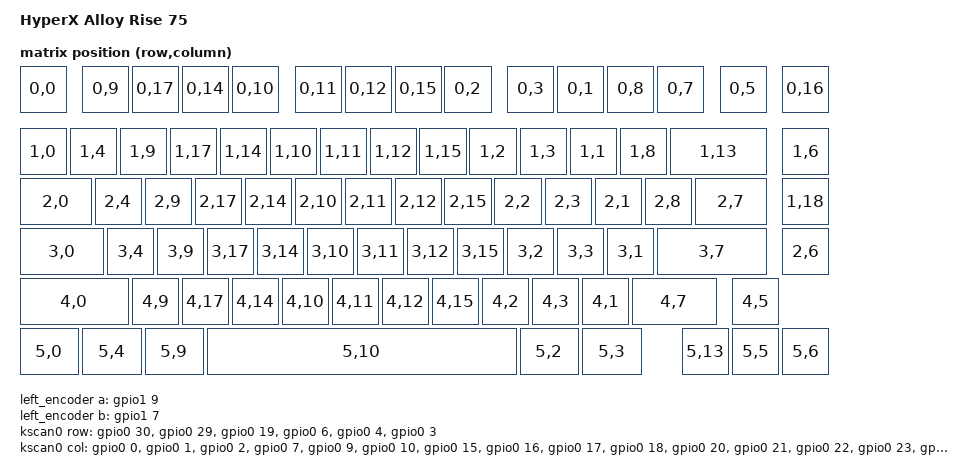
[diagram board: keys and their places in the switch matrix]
/dts-v1/;
#include <nxp/nxp_lpc55S16_ns.dtsi>
#include <dt-bindings/zmk/matrix_transform.h>
#include <dt-bindings/gpio/gpio.h>
#include <physical_layouts.dtsi>

/ {
    model = "HyperX Alloy Rise 75";
    compatible = "hyperx,alloy-rise-75", "nxp,lpc55xxx", "nxp,lpc";

    chosen {
        zephyr,sram = &sram0;
        zephyr,flash = &flash0;
        zephyr,code-partition = &slot0_partition;
        zephyr,udc0 = &usbhs;
        zmk,physical-layout = &physical_layout0;
        zmk,kscan = &kscan0;
    };

    left_encoder: encoder_left {
        compatible = "alps,ec11";
        a-gpios = <&gpio1 9 (GPIO_ACTIVE_LOW | GPIO_PULL_UP)>; 
        b-gpios = <&gpio1 7 (GPIO_ACTIVE_LOW | GPIO_PULL_UP)>; 
        steps = <80>;
        status = "okay";
    };

    sensors: sensors {
        compatible = "zmk,keymap-sensors";
        sensors = <&left_encoder>;
        triggers-per-rotation = <20>;
    };

    default_transform: keymap_transform_0 {
        compatible = "zmk,matrix-transform";
        columns = <19>;
        rows = <6>;
        map = <
            RC(0,0) RC(0,9) RC(0,17) RC(0,14) RC(0,10) RC(0,11) RC(0,12) RC(0,15) RC(0,2) RC(0,3) RC(0,1) RC(0,8) RC(0,7) RC(0,5) RC(0,16)
            RC(1,0) RC(1,4) RC(1,9) RC(1,17) RC(1,14) RC(1,10) RC(1,11) RC(1,12) RC(1,15) RC(1,2) RC(1,3) RC(1,1) RC(1,8) RC(1,13) RC(1,6) RC(1,18)
            RC(2,0) RC(2,4) RC(2,9) RC(2,17) RC(2,14) RC(2,10) RC(2,11) RC(2,12) RC(2,15) RC(2,2) RC(2,3) RC(2,1) RC(2,8) RC(2,7) RC(2,6)
            RC(3,0) RC(3,4) RC(3,9) RC(3,17) RC(3,14) RC(3,10) RC(3,11) RC(3,12) RC(3,15) RC(3,2) RC(3,3) RC(3,1) RC(3,7)
            RC(4,0) RC(4,9) RC(4,17) RC(4,14) RC(4,10) RC(4,11) RC(4,12) RC(4,15) RC(4,2) RC(4,3) RC(4,1) RC(4,7) RC(4,5)
            RC(5,0) RC(5,4) RC(5,9)  RC(5,10)                   RC(5,2)  RC(5,3)           RC(5,13) RC(5,5) RC(5,6)
        >;
    };

    kscan0: kscan_0 {
        compatible = "zmk,kscan-gpio-matrix";
        diode-direction = "row2col"; 
        row-gpios =
            <&gpio0 30 (GPIO_ACTIVE_HIGH | GPIO_PULL_DOWN)>,
            <&gpio0 29 (GPIO_ACTIVE_HIGH | GPIO_PULL_DOWN)>,
            <&gpio0 19 (GPIO_ACTIVE_HIGH | GPIO_PULL_DOWN)>,
            <&gpio0 6  (GPIO_ACTIVE_HIGH | GPIO_PULL_DOWN)>,
            <&gpio0 4  (GPIO_ACTIVE_HIGH | GPIO_PULL_DOWN)>,
            <&gpio0 3  (GPIO_ACTIVE_HIGH | GPIO_PULL_DOWN)>;
        col-gpios =
            <&gpio0 0  (GPIO_ACTIVE_HIGH | GPIO_PULL_DOWN)>,
            <&gpio0 1  (GPIO_ACTIVE_HIGH | GPIO_PULL_DOWN)>, 
            <&gpio0 2  (GPIO_ACTIVE_HIGH | GPIO_PULL_DOWN)>,
            <&gpio0 7  (GPIO_ACTIVE_HIGH | GPIO_PULL_DOWN)>,
            <&gpio0 9  (GPIO_ACTIVE_HIGH | GPIO_PULL_DOWN)>,
            <&gpio0 10 (GPIO_ACTIVE_HIGH | GPIO_PULL_DOWN)>,
            <&gpio0 15 (GPIO_ACTIVE_HIGH | GPIO_PULL_DOWN)>,
            <&gpio0 16 (GPIO_ACTIVE_HIGH | GPIO_PULL_DOWN)>,
            <&gpio0 17 (GPIO_ACTIVE_HIGH | GPIO_PULL_DOWN)>,
            <&gpio0 18 (GPIO_ACTIVE_HIGH | GPIO_PULL_DOWN)>,
            <&gpio0 20 (GPIO_ACTIVE_HIGH | GPIO_PULL_DOWN)>,
            <&gpio0 21 (GPIO_ACTIVE_HIGH | GPIO_PULL_DOWN)>,
            <&gpio0 22 (GPIO_ACTIVE_HIGH | GPIO_PULL_DOWN)>,
            <&gpio0 23 (GPIO_ACTIVE_HIGH | GPIO_PULL_DOWN)>,
            <&gpio0 24 (GPIO_ACTIVE_HIGH | GPIO_PULL_DOWN)>,
            <&gpio0 25 (GPIO_ACTIVE_HIGH | GPIO_PULL_DOWN)>,
            <&gpio0 27 (GPIO_ACTIVE_HIGH | GPIO_PULL_DOWN)>,
            <&gpio0 28 (GPIO_ACTIVE_HIGH | GPIO_PULL_DOWN)>,
            <&gpio0 31 (GPIO_ACTIVE_HIGH | GPIO_PULL_DOWN)>,
            // pines del chip sonix los añadi aqui para no causar interferencia
            <&gpio1 2  (GPIO_ACTIVE_HIGH | GPIO_PULL_DOWN)>,
            <&gpio1 3  (GPIO_ACTIVE_HIGH | GPIO_PULL_DOWN)>,
            <&gpio0 13 (GPIO_ACTIVE_HIGH | GPIO_PULL_DOWN)>,
            <&gpio1 11 (GPIO_ACTIVE_HIGH | GPIO_PULL_DOWN)>;
    };

    physical_layout0: physical_layout_0 {
        compatible = "zmk,physical-layout";
        display-name = "HyperX Alloy Rise 75";
        transform = <&default_transform>;
        kscan = <&kscan0>;
        keys =
            /* F0: 15 teclas (Esc hasta Mute) */
            <&key_physical_attrs 100 100 0 0 0 0 0>, <&key_physical_attrs 100 100 125 0 0 0 0>, <&key_physical_attrs 100 100 225 0 0 0 0>, <&key_physical_attrs 100 100 325 0 0 0 0>, <&key_physical_attrs 100 100 425 0 0 0 0>, <&key_physical_attrs 100 100 550 0 0 0 0>, <&key_physical_attrs 100 100 650 0 0 0 0>, <&key_physical_attrs 100 100 750 0 0 0 0>, <&key_physical_attrs 100 100 850 0 0 0 0>, <&key_physical_attrs 100 100 975 0 0 0 0>, <&key_physical_attrs 100 100 1075 0 0 0 0>, <&key_physical_attrs 100 100 1175 0 0 0 0>, <&key_physical_attrs 100 100 1275 0 0 0 0>, <&key_physical_attrs 100 100 1400 0 0 0 0>, <&key_physical_attrs 100 100 1525 0 0 0 0>,

            /* F1: 16 teclas (Grave ... Home, PgUp visualmente abajo) */
            <&key_physical_attrs 100 100 0 125 0 0 0>, <&key_physical_attrs 100 100 100 125 0 0 0>, <&key_physical_attrs 100 100 200 125 0 0 0>, <&key_physical_attrs 100 100 300 125 0 0 0>, <&key_physical_attrs 100 100 400 125 0 0 0>, <&key_physical_attrs 100 100 500 125 0 0 0>, <&key_physical_attrs 100 100 600 125 0 0 0>, <&key_physical_attrs 100 100 700 125 0 0 0>, <&key_physical_attrs 100 100 800 125 0 0 0>, <&key_physical_attrs 100 100 900 125 0 0 0>, <&key_physical_attrs 100 100 1000 125 0 0 0>, <&key_physical_attrs 100 100 1100 125 0 0 0>, <&key_physical_attrs 100 100 1200 125 0 0 0>, 
            <&key_physical_attrs 200 100 1300 125 0 0 0>, /* BkSp */
            <&key_physical_attrs 100 100 1525 125 0 0 0>, /* Home */
            <&key_physical_attrs 100 100 1525 225 0 0 0>, /* PgUp (Movido visualmente a la Fila 2) */

            /* F2: 15 teclas (Tab ... PgDn visualmente abajo) */
            <&key_physical_attrs 150 100 0 225 0 0 0>, <&key_physical_attrs 100 100 150 225 0 0 0>, <&key_physical_attrs 100 100 250 225 0 0 0>, <&key_physical_attrs 100 100 350 225 0 0 0>, <&key_physical_attrs 100 100 450 225 0 0 0>, <&key_physical_attrs 100 100 550 225 0 0 0>, <&key_physical_attrs 100 100 650 225 0 0 0>, <&key_physical_attrs 100 100 750 225 0 0 0>, <&key_physical_attrs 100 100 850 225 0 0 0>, <&key_physical_attrs 100 100 950 225 0 0 0>, <&key_physical_attrs 100 100 1050 225 0 0 0>, <&key_physical_attrs 100 100 1150 225 0 0 0>, <&key_physical_attrs 100 100 1250 225 0 0 0>, 
            <&key_physical_attrs 150 100 1350 225 0 0 0>, /* BSLH */
            <&key_physical_attrs 100 100 1525 325 0 0 0>, /* PgDn (Movido visualmente a la Fila 3) */

            /* F3: 13 teclas (Caps hasta Ret) */
            <&key_physical_attrs 175 100 0 325 0 0 0>, <&key_physical_attrs 100 100 175 325 0 0 0>, <&key_physical_attrs 100 100 275 325 0 0 0>, <&key_physical_attrs 100 100 375 325 0 0 0>, <&key_physical_attrs 100 100 475 325 0 0 0>, <&key_physical_attrs 100 100 575 325 0 0 0>, <&key_physical_attrs 100 100 675 325 0 0 0>, <&key_physical_attrs 100 100 775 325 0 0 0>, <&key_physical_attrs 100 100 875 325 0 0 0>, <&key_physical_attrs 100 100 975 325 0 0 0>, <&key_physical_attrs 100 100 1075 325 0 0 0>, <&key_physical_attrs 100 100 1175 325 0 0 0>, <&key_physical_attrs 225 100 1275 325 0 0 0>,

            /* F4: 13 teclas (LShft hasta Up) */
            <&key_physical_attrs 225 100 0 425 0 0 0>, <&key_physical_attrs 100 100 225 425 0 0 0>, <&key_physical_attrs 100 100 325 425 0 0 0>, <&key_physical_attrs 100 100 425 425 0 0 0>, <&key_physical_attrs 100 100 525 425 0 0 0>, <&key_physical_attrs 100 100 625 425 0 0 0>, <&key_physical_attrs 100 100 725 425 0 0 0>, <&key_physical_attrs 100 100 825 425 0 0 0>, <&key_physical_attrs 100 100 925 425 0 0 0>, <&key_physical_attrs 100 100 1025 425 0 0 0>, <&key_physical_attrs 100 100 1125 425 0 0 0>, <&key_physical_attrs 175 100 1225 425 0 0 0>, <&key_physical_attrs 100 100 1425 425 0 0 0>,

            /* F5: 9 teclas (Ctrl hasta Flechas) */
            <&key_physical_attrs 125 100 0 525 0 0 0>, <&key_physical_attrs 125 100 125 525 0 0 0>, <&key_physical_attrs 125 100 250 525 0 0 0>, <&key_physical_attrs 625 100 375 525 0 0 0>, <&key_physical_attrs 125 100 1000 525 0 0 0>, <&key_physical_attrs 125 100 1125 525 0 0 0>, <&key_physical_attrs 100 100 1325 525 0 0 0>, <&key_physical_attrs 100 100 1425 525 0 0 0>, <&key_physical_attrs 100 100 1525 525 0 0 0>
        ;
    };
};

&sram0 { reg = <0x20000000 DT_SIZE_K(64)>; };
&flash0 {
    partitions {
        compatible = "fixed-partitions";
        #address-cells = <1>; 
        #size-cells = <1>;
        slot0_partition: partition@0 { 
            label = "image-0"; 
            reg = <0x00000000 DT_SIZE_K(224)>; 
        };
        storage_partition: partition@38000 { 
            label = "storage"; 
            reg = <0x00038000 DT_SIZE_K(20)>; 
        };
    };
};
zephyr_udc0: &usbhs {
    status = "okay";
    phy-handle = <&usbphy1>;
};
&usbphy1 { status = "okay"; tx-d-cal = <5>; tx-cal-45-dp-ohms = <10>; tx-cal-45-dm-ohms = <10>; };
